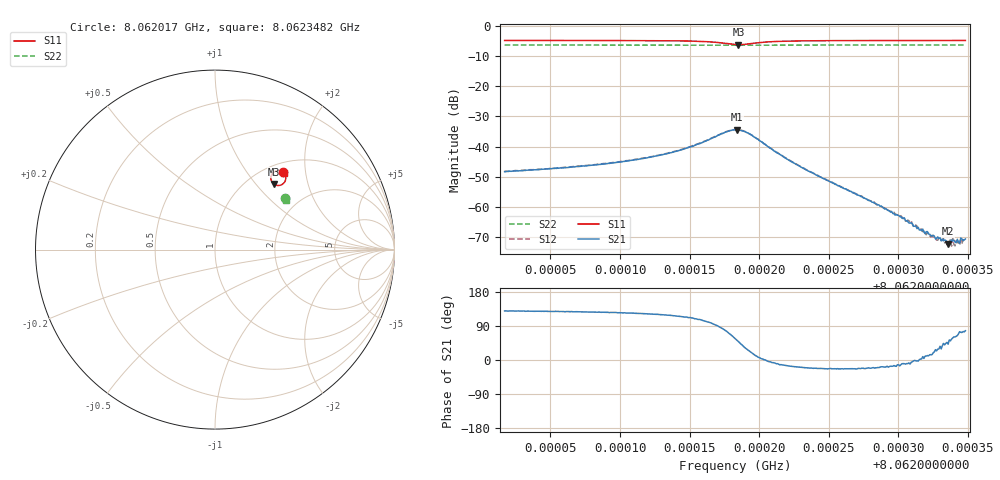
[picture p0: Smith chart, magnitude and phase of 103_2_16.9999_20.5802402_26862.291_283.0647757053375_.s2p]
#  HZ  S  RI  R  50.00
! Rohde & Schwarz Vector Network Analyzer
! Rohde-Schwarz,ZNB20-2Port,1311601062101988,3.16
! Created: UTC 3/20/2024, 10:56:43 PM
! freq[Hz]  re:S11  im:S11  re:S21  im:S21  re:S12  im:S12  re:S22  im:S22
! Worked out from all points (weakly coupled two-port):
!   401 points, 8.062017 GHz to 8.0623482 GHz, reference 50 ohm
!   highest |S21| = -34.43 dB at 8.0621842 GHz (marker M1); lowest = -72.2 dB at 8.0623357 GHz (marker M2)
!   lowest |S11| = -6.2 dB at 8.0621851 GHz (marker M3), VSWR 2.93, Z = 64.6 + j62.4 ohm
!   |S11| at or under -10 dB: nowhere
!   |S22| runs from -6.4 to -6.3 dB; largest |S21 - S12| = 0.0014
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8.06201702e9  0.3777 0.4344  -0.00244 0.00296  -0.00229 0.00315  0.3874 0.2889
8.06207249e9  0.3832 0.4283  -0.00284 0.00377  -0.00266 0.00401  0.3893 0.2863
8.06210726e9  0.3878 0.422  -0.00329 0.00486  -0.00296 0.00512  0.3905 0.2843
8.06212795e9  0.3913 0.4154  -0.00356 0.00617  -0.00325 0.00643  0.3912 0.283
8.06214782e9  0.3943 0.4032  -0.00375 0.00867  -0.00313 0.00894  0.3919 0.2816
8.06216521e9  0.39 0.38  -0.00187 0.0133  -0.000901 0.0137  0.3917 0.2797
8.06217597e9  0.3669 0.3596  0.00392 0.0169  0.00509 0.0168  0.3908 0.2788
8.06218259e9  0.3376 0.3601  0.0104 0.0158  0.0114 0.0153  0.3898 0.279
8.06218425e9  0.33 0.3639  0.0119 0.0148  0.0129 0.0141  0.3896 0.2792
8.06218507e9  0.3268 0.3664  0.0124 0.014  0.0135 0.0133  0.3895 0.2793
8.06219335e9  0.3111 0.4013  0.0148 0.00602  0.0153 0.00506  0.3896 0.2807
8.06221901e9  0.3469 0.4401  0.0062 -0.0016  0.00614 -0.00199  0.3925 0.2807
8.06223805e9  0.3607 0.4399  0.00343 -0.00135  0.00335 -0.00155  0.3937 0.2795
8.06229352e9  0.3763 0.434  0.000814 -0.000254  0.000803 -0.00031  0.3961 0.2763
8.06230842e9  0.3783 0.4326  0.000527 -0.0001  0.000541 -0.000118  0.3967 0.2756
8.06231504e9  0.3793 0.4321  0.000413 8.5e-06  0.000459 -1.55e-05  0.3967 0.2753
8.06232663e9  0.3807 0.4312  0.000263 0.000135  0.000284 8.9e-05  0.3972 0.2747
8.06233491e9  0.3817 0.4306  0.000176 0.000186  0.00018 0.000155  0.3974 0.2743
8.06233574e9  0.3817 0.4304  0.000183 0.000162  0.000166 0.000207  0.3975 0.2743
8.06233905e9  0.382 0.4304  0.000143 0.000231  0.00018 0.000238  0.3977 0.2739
8.06234236e9  0.3824 0.4299  0.000125 0.000261  0.000125 0.000222  0.3978 0.274
8.06234816e9  0.3828 0.4294  6.55e-05 0.000285  4.16e-05 0.000274  0.398 0.2736
